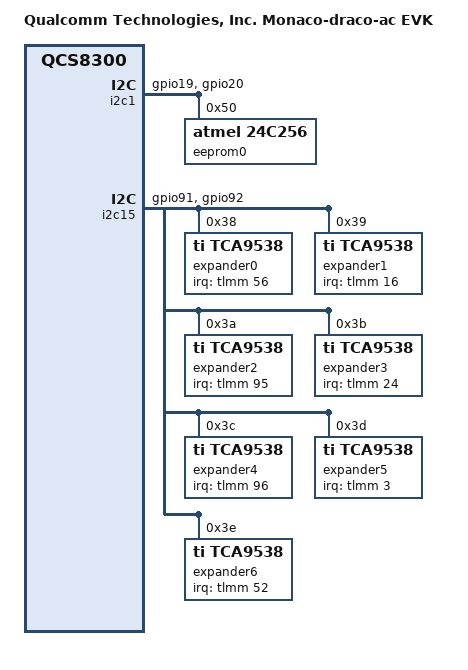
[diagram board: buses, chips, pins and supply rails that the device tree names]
// SPDX-License-Identifier: BSD-3-Clause
/*
 * Copyright (c) Qualcomm Technologies, Inc. and/or its subsidiaries.
 */

/dts-v1/;

#include <dt-bindings/gpio/gpio.h>

#include "monaco-draco-ac-evk-som.dtsi"

/ {
	model = "Qualcomm Technologies, Inc. Monaco-draco-ac EVK";
	compatible = "qcom,monaco-draco-ac-evk", "qcom,qcs8300";
	chassis-type = "embedded";
};

&i2c1 {
	pinctrl-0 = <&qup_i2c1_default>;
	pinctrl-names = "default";

	status = "okay";

	eeprom0: eeprom@50 {
		compatible = "atmel,24c256";
		reg = <0x50>;
		pagesize = <64>;

		nvmem-layout {
			compatible = "fixed-layout";
			#address-cells = <1>;
			#size-cells = <1>;

			mac_addr0: mac-addr@0 {
				reg = <0x0 0x6>;
			};
		};
	};
};

&i2c15 {
	pinctrl-0 = <&qup_i2c15_default>;
	pinctrl-names = "default";

	status = "okay";

	expander0: gpio@38 {
		compatible = "ti,tca9538";
		reg = <0x38>;
		#gpio-cells = <2>;
		gpio-controller;
		#interrupt-cells = <2>;
		interrupt-controller;
		interrupts-extended = <&tlmm 56 IRQ_TYPE_LEVEL_LOW>;
		pinctrl-0 = <&expander0_int>;
		pinctrl-names = "default";
	};

	expander1: gpio@39 {
		compatible = "ti,tca9538";
		reg = <0x39>;
		#gpio-cells = <2>;
		gpio-controller;
		#interrupt-cells = <2>;
		interrupt-controller;
		interrupts-extended = <&tlmm 16 IRQ_TYPE_LEVEL_LOW>;
		pinctrl-0 = <&expander1_int>;
		pinctrl-names = "default";
	};

	expander2: gpio@3a {
		compatible = "ti,tca9538";
		reg = <0x3a>;
		#gpio-cells = <2>;
		gpio-controller;
		#interrupt-cells = <2>;
		interrupt-controller;
		interrupts-extended = <&tlmm 95 IRQ_TYPE_LEVEL_LOW>;
		pinctrl-0 = <&expander2_int>;
		pinctrl-names = "default";
	};

	expander3: gpio@3b {
		compatible = "ti,tca9538";
		reg = <0x3b>;
		#gpio-cells = <2>;
		gpio-controller;
		#interrupt-cells = <2>;
		interrupt-controller;
		interrupts-extended = <&tlmm 24 IRQ_TYPE_LEVEL_LOW>;
		pinctrl-0 = <&expander3_int>;
		pinctrl-names = "default";
	};

	expander4: gpio@3c {
		compatible = "ti,tca9538";
		reg = <0x3c>;
		#gpio-cells = <2>;
		gpio-controller;
		#interrupt-cells = <2>;
		interrupt-controller;
		interrupts-extended = <&tlmm 96 IRQ_TYPE_LEVEL_LOW>;
		pinctrl-0 = <&expander4_int>;
		pinctrl-names = "default";
	};

	expander5: gpio@3d {
		compatible = "ti,tca9538";
		reg = <0x3d>;
		#gpio-cells = <2>;
		gpio-controller;
		#interrupt-cells = <2>;
		interrupt-controller;
		interrupts-extended = <&tlmm 3 IRQ_TYPE_LEVEL_LOW>;
		pinctrl-0 = <&expander5_int>;
		pinctrl-names = "default";
	};

	expander6: gpio@3e {
		compatible = "ti,tca9538";
		reg = <0x3e>;
		#gpio-cells = <2>;
		gpio-controller;
		#interrupt-cells = <2>;
		interrupt-controller;
		interrupts-extended = <&tlmm 52 IRQ_TYPE_LEVEL_LOW>;
		pinctrl-0 = <&expander6_int>;
		pinctrl-names = "default";
	};
};

&tlmm {
	expander0_int: expander0-int-state {
		pins = "gpio56";
		function = "gpio";
		bias-pull-up;
	};

	expander1_int: expander1-int-state {
		pins = "gpio16";
		function = "gpio";
		bias-pull-up;
	};

	expander2_int: expander2-int-state {
		pins = "gpio95";
		function = "gpio";
		bias-pull-up;
	};

	expander3_int: expander3-int-state {
		pins = "gpio24";
		function = "gpio";
		bias-pull-up;
	};

	expander4_int: expander4-int-state {
		pins = "gpio96";
		function = "gpio";
		bias-pull-up;
	};

	expander5_int: expander5-int-state {
		pins = "gpio3";
		function = "gpio";
		bias-pull-up;
	};

	expander6_int: expander6-int-state {
		pins = "gpio52";
		function = "gpio";
		bias-pull-up;
	};

	qup_i2c1_default: qup-i2c1-state {
		pins = "gpio19", "gpio20";
		function = "qup0_se1";
		drive-strength = <2>;
		bias-pull-up;
	};

	qup_i2c15_default: qup-i2c15-state {
		pins = "gpio91", "gpio92";
		function = "qup1_se7";
		drive-strength = <2>;
		bias-pull-up;
	};
};
